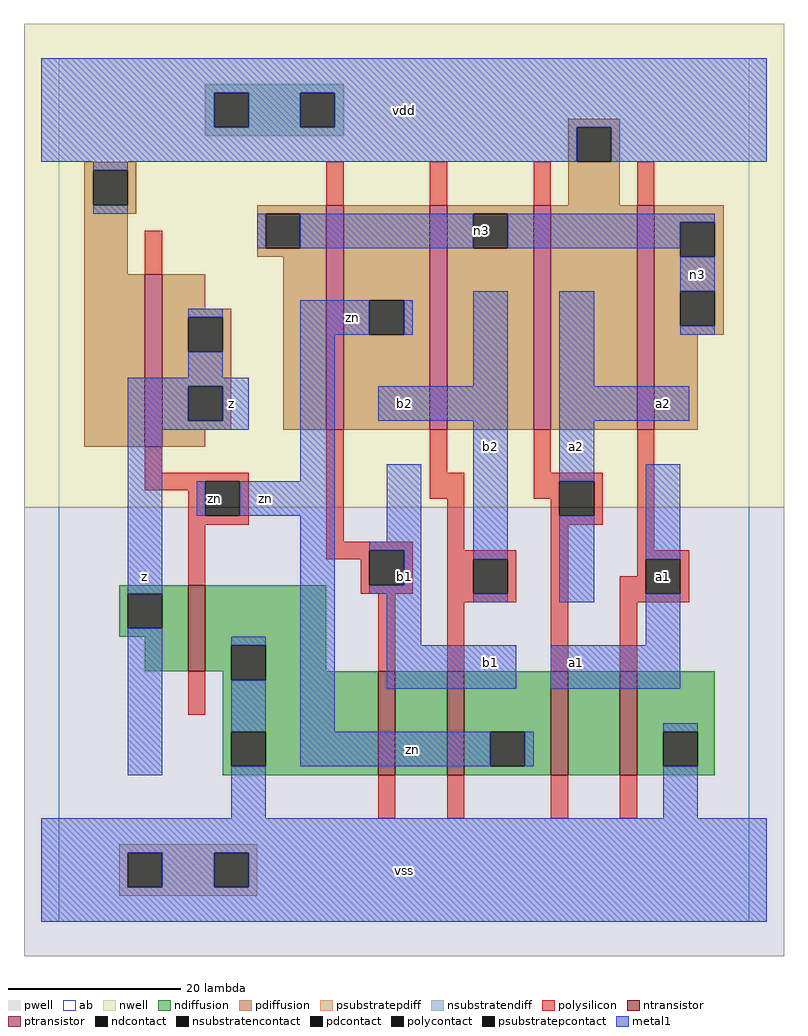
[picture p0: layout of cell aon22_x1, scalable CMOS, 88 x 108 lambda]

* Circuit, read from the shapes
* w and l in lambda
.subckt aon22_x1 a1 a2 b1 b2 n3 vdd vss z zn
M1 vss zn z vss nfet w=10 l=2
M2 n1 b1 vss vss nfet w=12 l=2
M3 zn b2 n1 vss nfet w=12 l=2
M4 n2 a2 zn vss nfet w=12 l=2
M5 vss a1 n2 vss nfet w=12 l=2
M6 z zn vdd vdd pfet w=20 l=2
M7 zn b1 n3 vdd pfet w=26 l=2
M8 n3 b2 zn vdd pfet w=26 l=2
M9 vdd a2 n3 vdd pfet w=26 l=2
M10 n3 a1 vdd vdd pfet w=26 l=2
.ends

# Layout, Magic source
magic
tech scmos
<< ab >>
rect 0 0 80 100
<< pwell >>
rect -4 -4 84 48
<< nwell >>
rect -4 48 84 104
<< polysilicon >>
rect 31 83 33 88
rect 43 83 45 88
rect 55 83 57 88
rect 67 83 69 88
rect 10 75 12 80
rect 10 52 12 55
rect 10 51 22 52
rect 10 50 17 51
rect 15 47 17 50
rect 21 47 22 51
rect 15 46 22 47
rect 15 39 17 46
rect 31 44 33 57
rect 43 52 45 57
rect 55 52 57 57
rect 43 49 47 52
rect 55 51 63 52
rect 55 49 58 51
rect 31 43 41 44
rect 31 42 36 43
rect 35 39 36 42
rect 40 39 41 43
rect 35 38 41 39
rect 45 43 47 49
rect 57 47 58 49
rect 62 47 63 51
rect 57 46 63 47
rect 45 42 53 43
rect 45 38 48 42
rect 52 38 53 42
rect 15 24 17 29
rect 37 29 39 38
rect 45 37 53 38
rect 45 29 47 37
rect 57 29 59 46
rect 67 43 69 57
rect 67 42 73 43
rect 67 40 68 42
rect 65 38 68 40
rect 72 38 73 42
rect 65 37 73 38
rect 65 29 67 37
rect 37 12 39 17
rect 45 12 47 17
rect 57 12 59 17
rect 65 12 67 17
<< ndiffusion >>
rect 7 38 15 39
rect 7 34 8 38
rect 12 34 15 38
rect 7 33 15 34
rect 10 29 15 33
rect 17 32 31 39
rect 17 29 20 32
rect 19 28 20 29
rect 24 29 31 32
rect 24 28 37 29
rect 19 22 37 28
rect 19 18 20 22
rect 24 18 37 22
rect 19 17 37 18
rect 39 17 45 29
rect 47 22 57 29
rect 47 18 50 22
rect 54 18 57 22
rect 47 17 57 18
rect 59 17 65 29
rect 67 22 76 29
rect 67 18 70 22
rect 74 18 76 22
rect 67 17 76 18
<< pdiffusion >>
rect 59 92 65 93
rect 59 88 60 92
rect 64 88 65 92
rect 3 87 9 88
rect 3 83 4 87
rect 8 83 9 87
rect 59 83 65 88
rect 3 82 9 83
rect 23 82 31 83
rect 3 75 8 82
rect 23 78 24 82
rect 28 78 31 82
rect 23 77 31 78
rect 3 55 10 75
rect 12 71 17 75
rect 12 70 20 71
rect 12 66 15 70
rect 19 66 20 70
rect 12 62 20 66
rect 12 58 15 62
rect 19 58 20 62
rect 12 57 20 58
rect 26 57 31 77
rect 33 72 43 83
rect 33 68 36 72
rect 40 68 43 72
rect 33 57 43 68
rect 45 82 55 83
rect 45 78 48 82
rect 52 78 55 82
rect 45 57 55 78
rect 57 57 67 83
rect 69 81 77 83
rect 69 77 72 81
rect 76 77 77 81
rect 69 73 77 77
rect 69 69 72 73
rect 76 69 77 73
rect 69 68 77 69
rect 69 57 74 68
rect 12 55 17 57
<< metal1 >>
rect -2 96 82 100
rect -2 92 18 96
rect 22 92 28 96
rect 32 92 82 96
rect -2 88 60 92
rect 64 88 82 92
rect 4 87 8 88
rect 4 82 8 83
rect 23 78 24 82
rect 28 78 48 82
rect 52 81 76 82
rect 52 78 72 81
rect 72 73 76 77
rect 15 70 19 71
rect 15 63 19 66
rect 28 68 36 72
rect 40 68 41 72
rect 8 62 22 63
rect 8 58 15 62
rect 19 58 22 62
rect 8 57 22 58
rect 8 38 12 57
rect 28 51 32 68
rect 48 62 52 73
rect 37 58 52 62
rect 16 47 17 51
rect 21 47 32 51
rect 8 17 12 34
rect 20 32 24 33
rect 20 22 24 28
rect 28 22 32 47
rect 38 44 42 53
rect 36 43 42 44
rect 40 39 42 43
rect 36 38 42 39
rect 38 32 42 38
rect 48 42 52 58
rect 48 37 52 38
rect 58 62 62 73
rect 72 68 76 69
rect 58 58 73 62
rect 58 51 62 58
rect 58 37 62 47
rect 68 42 72 53
rect 68 32 72 38
rect 38 27 53 32
rect 57 27 72 32
rect 70 22 74 23
rect 28 18 50 22
rect 54 18 55 22
rect 20 12 24 18
rect 70 12 74 18
rect -2 8 82 12
rect -2 4 8 8
rect 12 4 18 8
rect 22 4 82 8
rect -2 0 82 4
<< ntransistor >>
rect 15 29 17 39
rect 37 17 39 29
rect 45 17 47 29
rect 57 17 59 29
rect 65 17 67 29
<< ptransistor >>
rect 10 55 12 75
rect 31 57 33 83
rect 43 57 45 83
rect 55 57 57 83
rect 67 57 69 83
<< polycontact >>
rect 17 47 21 51
rect 36 39 40 43
rect 58 47 62 51
rect 48 38 52 42
rect 68 38 72 42
<< ndcontact >>
rect 8 34 12 38
rect 20 28 24 32
rect 20 18 24 22
rect 50 18 54 22
rect 70 18 74 22
<< pdcontact >>
rect 60 88 64 92
rect 4 83 8 87
rect 24 78 28 82
rect 15 66 19 70
rect 15 58 19 62
rect 36 68 40 72
rect 48 78 52 82
rect 72 77 76 81
rect 72 69 76 73
<< psubstratepcontact >>
rect 8 4 12 8
rect 18 4 22 8
<< nsubstratencontact >>
rect 18 92 22 96
rect 28 92 32 96
<< psubstratepdiff >>
rect 7 8 23 9
rect 7 4 8 8
rect 12 4 18 8
rect 22 4 23 8
rect 7 3 23 4
<< nsubstratendiff >>
rect 17 96 33 97
rect 17 92 18 96
rect 22 92 28 96
rect 32 92 33 96
rect 17 91 33 92
<< labels >>
rlabel polycontact 18 49 18 49 6 zn
rlabel metal1 10 40 10 40 6 z
rlabel metal1 20 60 20 60 6 z
rlabel metal1 40 6 40 6 6 vss
rlabel metal1 40 40 40 40 6 b1
rlabel metal1 24 49 24 49 6 zn
rlabel metal1 40 60 40 60 6 b2
rlabel metal1 34 70 34 70 6 zn
rlabel metal1 40 94 40 94 6 vdd
rlabel metal1 41 20 41 20 6 zn
rlabel metal1 50 30 50 30 6 b1
rlabel metal1 60 30 60 30 6 a1
rlabel metal1 50 55 50 55 6 b2
rlabel metal1 60 55 60 55 6 a2
rlabel polycontact 70 40 70 40 6 a1
rlabel metal1 70 60 70 60 6 a2
rlabel metal1 74 75 74 75 6 n3
rlabel pdcontact 49 80 49 80 6 n3
<< end >>
